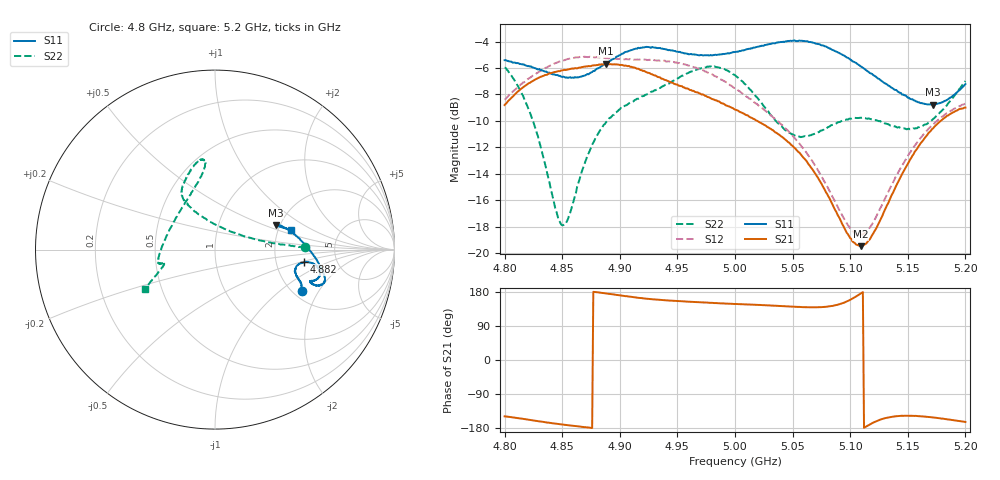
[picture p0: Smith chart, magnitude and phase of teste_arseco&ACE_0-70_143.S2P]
! Network Analyzer HP8722D
! Hewlett-Packard
! Data name: Linha & Wilkinson
! Saver's name: Rodrigo Anjos
! Comments: Teste da utilização de aquisição
! continua pelo VNA HP8722D
! Time and date: 8/5/2025 13:57
!  Frequency  S11  S21  S12  S22
# HZ  S  MA R 50
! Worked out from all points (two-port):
!   401 points, 4.8 GHz to 5.2 GHz, reference 50 ohm
!   highest |S21| = -5.68 dB at 4.888 GHz (marker M1); lowest = -19.5 dB at 5.109 GHz (marker M2)
!   |S21| within 3 dB of the highest: 4.801 GHz to 4.989 GHz (187.9 MHz wide, 3.84 % of centre)
!   lowest |S11| = -8.8 dB at 5.172 GHz (marker M3), VSWR 2.15, Z = 94.9 + j29.9 ohm
!   |S11| at or under -10 dB: nowhere
!   |S22| runs from -17.9 to -5.9 dB; largest |S21 - S12| = 1.1
!   S11 on the Smith chart (normalised r, x): 4.8 GHz: 2.24, -1.44; 4.882 GHz: 2.90, -0.54; 5.2 GHz: 2.33, +0.64
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4.8e9  0.5366 -25.3  0.363 -148.7  0.3803 10.6  0.5027 1.5
4.812e9  0.5229 -22.3  0.4099 -153.5  0.4261 9.0  0.4247 2.7
4.823e9  0.5083 -20.6  0.4439 -158.5  0.4632 7.4  0.3305 6.1
4.849e9  0.465 -16.1  0.4905 -169.8  0.5321 3.3  0.1283 57.9
4.855e9  0.4595 -14.7  0.4949 -172.1  0.5423 2.2  0.1344 84.7
4.867e9  0.466 -11.0  0.5052 -176.4  0.5493 0.5  0.2033 112.2
4.882e9  0.5015 -8.0  0.5172 178.2  0.5498 -0.6  0.287 121.2
4.888e9  0.523 -7.6  0.5199 175.6  0.5456 -0.8  0.312 121.7
4.912e9  0.5904 -10.8  0.5036 165.7  0.5388 -0.5  0.3753 119.7
4.934e9  0.5966 -15.6  0.4625 158.7  0.5359 -1.2  0.4208 113.2
4.977e9  0.5595 -18.6  0.3888 151.1  0.4804 -5.1  0.5067 99.1
5e9  0.5757 -19.4  0.349 147.9  0.421 -5.1  0.471 96.8
5.018e9  0.6006 -19.4  0.3178 145.7  0.368 -2.3  0.3918 103.6
5.045e9  0.6322 -17.3  0.2655 141.6  0.2932 3.3  0.2891 132.9
5.067e9  0.626 -13.4  0.208 139.0  0.2233 9.5  0.2806 164.3
5.098e9  0.5477 -2.9  0.1179 156.0  0.1275 36.8  0.3196 -170.4
5.109e9  0.5086 2.2  0.1061 175.4  0.1171 58.4  0.3247 -167.1
5.119e9  0.4758 7.4  0.1167 -166.6  0.1284 77.8  0.3203 -166.2
5.134e9  0.4288 14.4  0.1582 -151.0  0.1735 94.7  0.3054 -165.6
5.154e9  0.3821 20.9  0.2334 -147.3  0.2479 101.8  0.2944 -164.1
5.172e9  0.3643 22.0  0.2963 -151.7  0.3065 102.8  0.3215 -160.0
5.2e9  0.4356 14.8  0.3549 -163.5  0.3679 103.1  0.4472 -150.3
